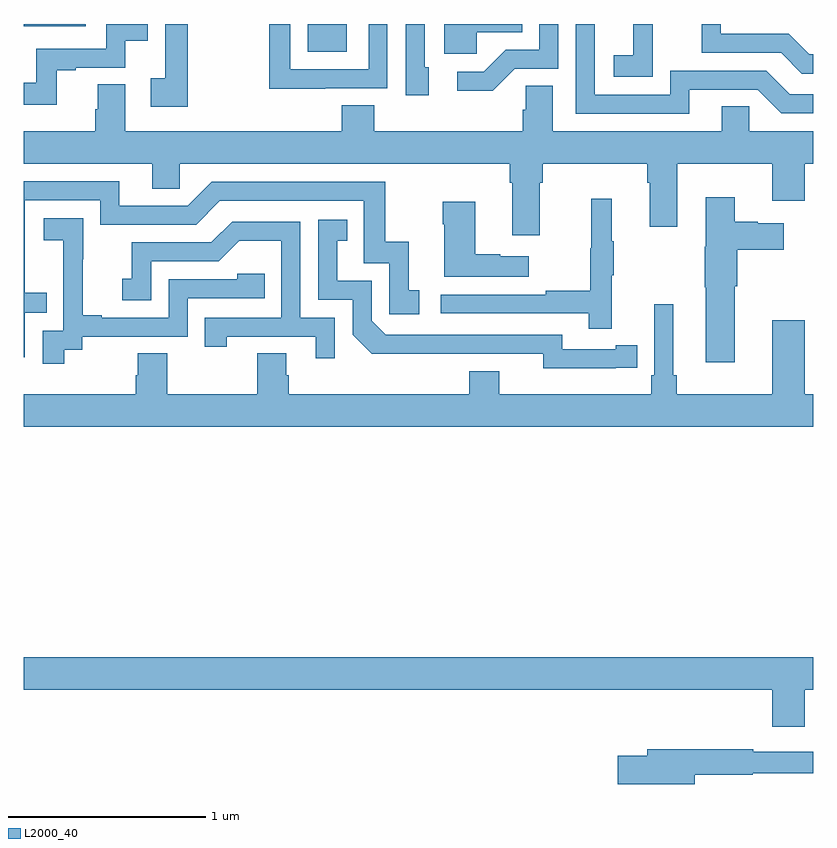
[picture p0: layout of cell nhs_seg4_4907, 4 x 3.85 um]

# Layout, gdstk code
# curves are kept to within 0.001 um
import gdstk
lib = gdstk.Library(unit=1e-6, precision=1e-09)
def R(c, l, rs):  # rectangles x0, y0, x1, y1
    for r in rs: c.add(gdstk.rectangle(r[:2], r[2:], *l))
def P(c, l, *ps):  # polygons
    for p in ps: c.add(gdstk.Polygon(p, *l))
L2000_40 = (2000, 40)

nhs_seg4_4907 = lib.new_cell('nhs_seg4_4907')
R(nhs_seg4_4907, L2000_40, [(378.44,758.759,378.637,758.9), (377,758.889,377.314,758.9)])
P(nhs_seg4_4907, L2000_40, [(378.527,758.574),(378.843,758.574),(378.843,758.9),(378.747,758.9),(378.747,758.67),(378.351,758.67),(378.351,758.9),(378.243,758.9),(378.243,758.573),(378.527,758.573)],
  [(379.051,758.682),(379.032,758.682),(379.032,758.9),(378.936,758.9),(378.936,758.538),(379.051,758.538)],
  [(381,758.746),(380.978,758.746),(380.874,758.85),(380.532,758.85),(380.532,758.9),(380.434,758.9),(380.434,758.754),(380.837,758.754),(380.942,758.649),(381,758.649)],
  [(380.371,758.568),(380.718,758.568),(380.838,758.448),(381,758.448),(381,758.544),(380.88,758.544),(380.76,758.664),(380.274,758.664),(380.274,758.541),(379.893,758.541),(379.893,758.9),(379.797,758.9),(379.797,758.445),(380.371,758.445)],
  [(377.831,758.9),(377.717,758.9),(377.717,758.626),(377.643,758.626),(377.643,758.48),(377.831,758.48)],
  [(377.168,758.667),(377.263,758.667),(377.263,758.679),(377.516,758.679),(377.516,758.816),(377.629,758.816),(377.629,758.9),(377.418,758.9),(377.418,758.775),(377.065,758.775),(377.065,758.602),(377,758.602),(377,758.492),(377.168,758.492)],
  [(380.187,758.839),(380.186,758.839),(380.186,758.9),(380.087,758.9),(380.087,758.743),(379.989,758.743),(379.989,758.633),(380.187,758.633)],
  [(379.296,758.858),(379.526,758.858),(379.526,758.9),(379.13,758.9),(379.13,758.75),(379.296,758.75)],
  [(379.488,758.673),(379.707,758.673),(379.707,758.9),(379.611,758.9),(379.611,758.769),(379.442,758.769),(379.331,758.658),(379.197,758.658),(379.197,758.561),(379.375,758.561)],
  [(379.615,758.096),(379.628,758.096),(379.628,758.192),(380.159,758.192),(380.159,758.096),(380.171,758.096),(380.171,757.872),(380.311,757.872),(380.311,758.192),(380.792,758.192),(380.792,758.004),(380.956,758.004),(380.956,758.192),(381,758.192),(381,758.356),(380.676,758.356),(380.676,758.483),(380.537,758.483),(380.537,758.356),(379.681,758.356),(379.681,758.588),(379.542,758.588),(379.542,758.465),(379.529,758.465),(379.529,758.356),(378.776,758.356),(378.776,758.489),(378.611,758.489),(378.611,758.356),(377.515,758.356),(377.515,758.594),(377.375,758.594),(377.375,758.469),(377.363,758.469),(377.363,758.356),(377,758.356),(377,758.192),(377.651,758.192),(377.651,758.065),(377.79,758.065),(377.79,758.192),(379.463,758.192),(379.463,758.096),(379.475,758.096),(379.475,757.83),(379.615,757.83)],
  [(377.007,757.437),(377.117,757.437),(377.117,757.538),(377.007,757.538),(377.007,758.007),(377.388,758.007),(377.388,757.884),(377.874,757.884),(377.994,758.004),(378.723,758.004),(378.723,757.689),(378.852,757.689),(378.852,757.431),(379.003,757.431),(379.003,757.551),(378.95,757.551),(378.95,757.798),(378.832,757.798),(378.832,758.1),(377.952,758.1),(377.832,757.98),(377.485,757.98),(377.485,758.103),(377,758.103),(377,757.212),(377.007,757.212)],
  [(380.602,757.573),(380.615,757.573),(380.615,757.757),(380.851,757.757),(380.851,757.891),(380.718,757.891),(380.718,757.899),(380.602,757.899),(380.602,758.023),(380.456,758.023),(380.456,757.773),(380.449,757.773),(380.449,757.567),(380.456,757.567),(380.456,757.188),(380.602,757.188)],
  [(379.979,757.627),(379.99,757.627),(379.99,757.801),(379.979,757.801),(379.979,758.014),(379.876,758.014),(379.876,757.764),(379.869,757.764),(379.869,757.55),(379.645,757.55),(379.645,757.53),(379.113,757.53),(379.113,757.434),(379.861,757.434),(379.861,757.356),(379.979,757.356)],
  [(379.558,757.723),(379.415,757.723),(379.415,757.733),(379.288,757.733),(379.288,757.999),(379.123,757.999),(379.123,757.886),(379.13,757.886),(379.13,757.619),(379.558,757.619)],
  [(377.206,757.249),(377.298,757.249),(377.298,757.317),(377.832,757.317),(377.832,757.512),(378.221,757.512),(378.221,757.635),(378.081,757.635),(378.081,757.608),(377.736,757.608),(377.736,757.413),(377.395,757.413),(377.395,757.426),(377.3,757.426),(377.3,757.709),(377.301,757.709),(377.301,757.915),(377.103,757.915),(377.103,757.805),(377.201,757.805),(377.201,757.577),(377.202,757.577),(377.202,757.347),(377.097,757.347),(377.097,757.179),(377.206,757.179)],
  [(380,757.158),(380.108,757.158),(380.108,757.274),(380,757.274),(380,757.254),(379.728,757.254),(379.728,757.326),(378.834,757.326),(378.762,757.398),(378.762,757.599),(378.589,757.599),(378.589,757.803),(378.638,757.803),(378.638,757.909),(378.492,757.909),(378.492,757.503),(378.666,757.503),(378.666,757.326),(378.764,757.229),(379.632,757.23),(379.632,757.157)],
  [(378.576,757.413),(378.402,757.413),(378.402,757.899),(378.056,757.899),(377.951,757.794),(377.548,757.794),(377.548,757.609),(377.499,757.609),(377.499,757.5),(377.646,757.5),(377.646,757.698),(377.988,757.698),(378.092,757.802),(378.306,757.802),(378.306,757.413),(377.917,757.413),(377.917,757.266),(378.028,757.266),(378.028,757.317),(378.479,757.317),(378.479,757.206),(378.576,757.206)],
  [(381,757.024),(380.956,757.024),(380.956,757.399),(380.792,757.399),(380.792,757.024),(380.309,757.024),(380.309,757.12),(380.29,757.12),(380.29,757.48),(380.193,757.48),(380.193,757.12),(380.18,757.12),(380.18,757.024),(379.408,757.024),(379.408,757.141),(379.256,757.141),(379.256,757.024),(378.344,757.024),(378.344,757.122),(378.331,757.122),(378.331,757.232),(378.184,757.232),(378.184,757.024),(377.727,757.024),(377.727,757.232),(377.579,757.232),(377.579,757.122),(377.567,757.122),(377.567,757.024),(377,757.024),(377,756.86),(381,756.86)],
  [(380.956,755.528),(381,755.528),(381,755.692),(377,755.692),(377,755.528),(380.792,755.528),(380.792,755.34),(380.956,755.34)],
  [(380.398,755.098),(380.694,755.098),(380.694,755.106),(381,755.106),(381,755.214),(380.696,755.214),(380.696,755.227),(380.159,755.227),(380.159,755.193),(380.01,755.193),(380.01,755.051),(380.398,755.051)])

lib.write_gds('nhs_seg4_4907.gds')
